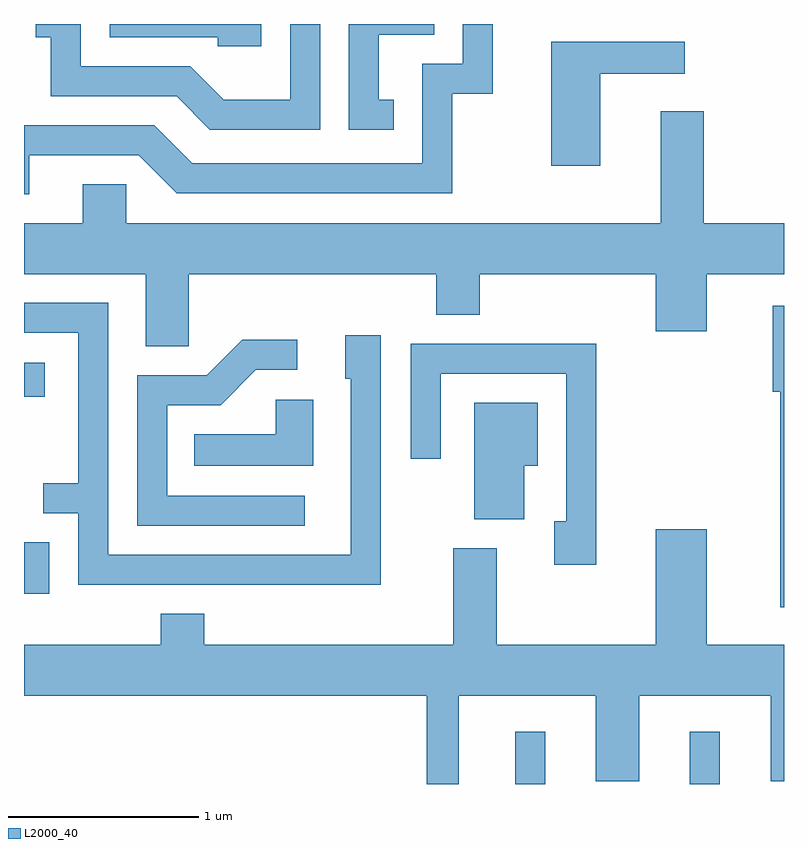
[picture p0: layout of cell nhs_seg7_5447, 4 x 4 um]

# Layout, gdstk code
import gdstk
lib = gdstk.Library(unit=1e-6, precision=1e-09)
def R(c, l, rs):  # rectangles x0, y0, x1, y1
    for r in rs: c.add(gdstk.rectangle(r[:2], r[2:], *l))
def P(c, l, *ps):  # polygons
    for p in ps: c.add(gdstk.Polygon(p, *l))
L2000_40 = (2000, 40)

nhs_seg7_5447 = lib.new_cell('nhs_seg7_5447')
R(nhs_seg7_5447, L2000_40, [(354.196,1758.252,354.354,1758.528), (355.116,1758.252,355.274,1758.528), (351.611,1759.253,351.744,1759.524), (351.611,1760.291,351.719,1760.469)])
P(nhs_seg7_5447, L2000_40, [(352.859,1762.252),(352.061,1762.252),(352.061,1762.181),(352.631,1762.181),(352.631,1762.136),(352.859,1762.136)],
  [(353.169,1762.252),(353.011,1762.252),(353.011,1761.854),(352.662,1761.854),(352.487,1762.029),(351.909,1762.029),(351.909,1762.252),(351.673,1762.252),(351.673,1762.181),(351.751,1762.181),(351.751,1761.871),(352.414,1761.871),(352.589,1761.696),(353.169,1761.696)],
  [(351.639,1761.561),(352.214,1761.561),(352.414,1761.361),(353.864,1761.361),(353.864,1761.886),(354.079,1761.886),(354.079,1762.252),(353.921,1762.252),(353.921,1762.044),(353.706,1762.044),(353.706,1761.519),(352.497,1761.519),(352.297,1761.719),(351.611,1761.719),(351.611,1761.356),(351.639,1761.356)],
  [(353.558,1761.854),(353.479,1761.854),(353.479,1762.196),(353.769,1762.196),(353.769,1762.252),(353.321,1762.252),(353.321,1761.696),(353.558,1761.696)],
  [(354.644,1761.991),(355.088,1761.991),(355.088,1762.159),(354.386,1762.159),(354.386,1761.506),(354.644,1761.506)],
  [(352.479,1760.936),(353.781,1760.936),(353.781,1760.721),(354.009,1760.721),(354.009,1760.936),(354.936,1760.936),(354.936,1760.636),(355.204,1760.636),(355.204,1760.936),(355.611,1760.936),(355.611,1761.204),(355.189,1761.204),(355.189,1761.794),(354.961,1761.794),(354.961,1761.204),(352.149,1761.204),(352.149,1761.409),(351.921,1761.409),(351.921,1761.204),(351.611,1761.204),(351.611,1760.936),(352.251,1760.936),(352.251,1760.556),(352.479,1760.556)],
  [(353.489,1760.614),(353.301,1760.614),(353.301,1760.386),(353.331,1760.386),(353.331,1759.459),(352.054,1759.459),(352.054,1760.784),(351.611,1760.784),(351.611,1760.626),(351.896,1760.626),(351.896,1759.834),(351.713,1759.834),(351.713,1759.676),(351.896,1759.676),(351.896,1759.301),(353.489,1759.301)],
  [(355.611,1760.769),(355.551,1760.769),(355.551,1760.316),(355.591,1760.316),(355.591,1759.181),(355.611,1759.181)],
  [(353.088,1759.769),(352.364,1759.769),(352.364,1760.246),(352.647,1760.246),(352.832,1760.431),(353.048,1760.431),(353.048,1760.589),(352.759,1760.589),(352.574,1760.404),(352.206,1760.404),(352.206,1759.611),(353.088,1759.611)],
  [(354.624,1760.569),(353.646,1760.569),(353.646,1759.963),(353.804,1759.963),(353.804,1760.411),(354.466,1760.411),(354.466,1759.634),(354.401,1759.634),(354.401,1759.406),(354.624,1759.406)],
  [(353.134,1760.274),(352.936,1760.274),(352.936,1760.094),(352.508,1760.094),(352.508,1759.926),(353.134,1759.926)],
  [(354.244,1759.926),(354.314,1759.926),(354.314,1760.259),(353.981,1760.259),(353.981,1759.646),(354.244,1759.646)],
  [(355.204,1759.594),(354.936,1759.594),(354.936,1758.984),(354.099,1758.984),(354.099,1759.494),(353.871,1759.494),(353.871,1758.984),(352.559,1758.984),(352.559,1759.149),(352.331,1759.149),(352.331,1758.984),(351.611,1758.984),(351.611,1758.716),(353.731,1758.716),(353.731,1758.252),(353.899,1758.252),(353.899,1758.716),(354.621,1758.716),(354.621,1758.266),(354.849,1758.266),(354.849,1758.716),(355.541,1758.716),(355.541,1758.266),(355.611,1758.266),(355.611,1758.984),(355.204,1758.984)])

lib.write_gds('nhs_seg7_5447.gds')
